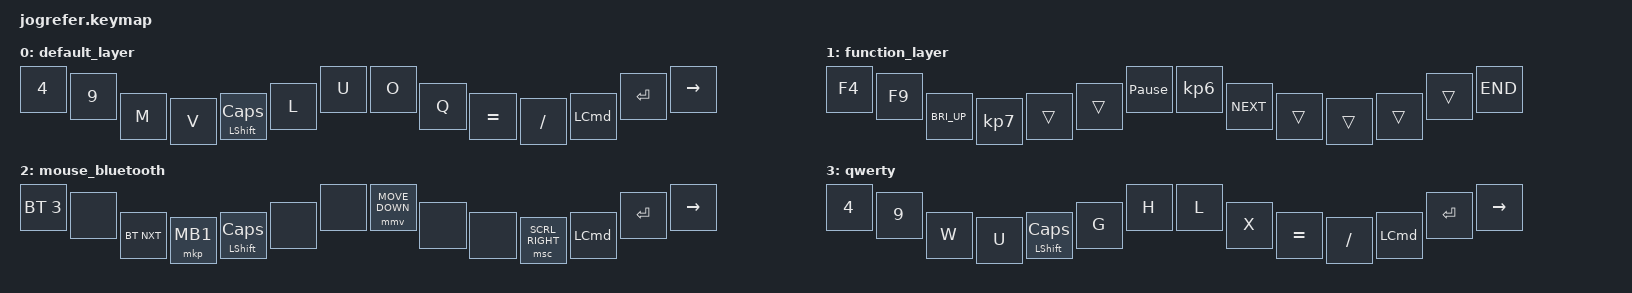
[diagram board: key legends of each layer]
#include <definitions.dtsi>
#include <jogrefer-layouts.dtsi>
#include <dt-bindings/zmk/keys.h>
#include <dt-bindings/zmk/bt.h>
#include <dt-bindings/zmk/outputs.h>
#include <input/processors.dtsi>

#define ZMK_POINTING_DEFAULT_MOVE_VAL 1500  // default: 600
#define ZMK_POINTING_DEFAULT_SCRL_VAL 20 
#include <dt-bindings/zmk/pointing.h>

/ {
	behaviors {
		&mt {
			tapping-term-ms = <160>;
		};
		&lt {
			tapping-term-ms = <160>;
		};
	};

	keymap {
		compatible = "zmk,keymap";
		retro-tap;
		default_layer {
				/* ╭────────────────────╮   ╭────────────────────╮
					│  ×  1  2  3  4  5	│   │  6  7  8  9  0  \  │
					│  ⭾  F  M  N  G  X	╰───╯  W  V  B  P  Y  -  │
					│  ⇪  D  T  R  S  L  Ç   m  U  A  E  O  I  +  │
					│  ´  Z  Q  H  C  K  [   <  Ñ  J  ,  .  /  ⇪  │
					│  m  ⌃  ⌥  ⌘  ␣  ←  ]   ⌘  ↩︎  ␣  ←  ↑  ↓  →  │
					╰─────────────────────────────────────────────╯ */
			bindings = <
				&kp ESC              &kp N1     &kp N2    &kp N3    &kp N4     &kp N5                               &kp N6      &kp N7     &kp N8      &kp N9    &kp N0     &kp NUBS
				&kp TAB              &kp F      &kp M     &kp N     &kp G      &kp X                                &kp W       &kp V      &kp B       &kp P     &kp Y      &kp _MINUS
				&mt LSHIFT CAPSLOCK  &kp D      &kp T     &kp R     &kp S      &kp L          &kp TILDE  &tog 2     &kp U       &kp A      &kp E       &kp O     &kp I      &kp _PLUS
				&kp GRAVE            &kp Z      &kp Q     &kp H     &kp C      &kp K          &kp LBKT   &kp EQUAL  &kp NTILDE  &kp J      &kp _COMMA  &kp _DOT  &kp SLASH  &kp RSHIFT
				&lt 1 GLOBE          &kp LCTRL  &kp LALT  &kp LCMD  &kp SPACE  &kp BACKSPACE  &kp RBKT   &kp RCMD   &kp ENTER   &kp SPACE  &kp LEFT    &kp UP    &kp DOWN   &kp RIGHT
			>;
		};

		function_layer {		// 1
			bindings = <
				&kp F12         &kp F1             &kp F2        &kp F3            &kp F4      &kp F5                   &kp F6           &kp F7        &kp F8     &kp F9     &kp F10          &kp F11
				&kp SCROLLLOCK  &kp C_VOL_UP       &kp C_BRI_UP  &trans            &trans      &trans                   &kp PRINTSCREEN  &kp KP_N7     &kp KP_N8  &kp KP_N9  &trans           &trans
				&trans          &kp C_VOLUME_DOWN  &kp C_BRI_DN  &trans            &trans      &trans   &to 3   &to 2   &kp PAUSE_BREAK  &kp KP_N4     &kp KP_N5  &kp KP_N6  &kp KP_MULTIPLY  &trans
				&trans          &kp C_MUTE         &kp C_NEXT    &kp C_PLAY_PAUSE  &kp C_PREV  &trans   &trans  &trans  &kp KP_NUMLOCK   &kp KP_N1     &kp KP_N2  &kp KP_N3  &trans           &kp INSERT
				&trans          &trans             &trans        &trans            &trans      &kp DEL  &trans  &trans  &trans           &kp KP_EQUAL  &HOME      &PAGE_UP   &PAGE_DOWN       &END
			>;
		};

		mouse_bluetooth {		// 2

			&mkp_input_listener {
				input-processors = <&zip_temp_layer 2 2000>;
 			};
 			&mmv_input_listener {	//Input Processors
 				input-processors = <&zip_temp_layer 2 2000>;
 			};
 			&mmv {	//Mouse Move
				x-input-code = <INPUT_REL_X>;
 				y-input-code = <INPUT_REL_Y>;
 				time-to-max-speed-ms = <800>;
 				acceleration-exponent = <1.12>;
 			};
 			&msc {	//Mouse Scroll
				x-input-code = <INPUT_REL_HWHEEL>;
				y-input-code = <INPUT_REL_WHEEL>;
				time-to-max-speed-ms = <400>;
				acceleration-exponent = <1.1>;
			};
			bindings = <
				&to 0                &bt BT_SEL 0  &bt BT_SEL 1  &bt BT_SEL 2  &bt BT_SEL 3  &bt BT_SEL 4                      &none      &none           &none           &none           &none            &none
				&kp TAB              &bt BT_CLR    &bt BT_NXT    &bt BT_PVR    &bt BT_DISC   &none                             &mkp MB4   &mkp MB1        &mkp MB3        &mkp MB2        &mkp MB5         &none
				&mt LSHIFT CAPSLOCK  &out OUT_USB  &out OUT_BLE  &none         &none         &none         &none     &to 0     &none      &mmv MOVE_LEFT  &mmv MOVE_UP    &mmv MOVE_DOWN  &mmv MOVE_RIGHT  &none
				&none                &none         &none         &none         &none         &none         &none     &none     &none      &msc SCRL_LEFT  &msc SCRL_UP    &msc SCRL_DOWN  &msc SCRL_RIGHT  &RSHIFT
				&trans               &kp LCTRL     &kp LALT      &kp LCMD      &kp SPACE     &kp DEL       &kp RBKT  &kp RCMD  &kp ENTER  &kp SPACE       &kp LEFT        &kp UP          &kp DOWN         &kp RIGHT
			>;
		};

			qwerty {		// 3
				/* ╭────────────────────╮   ╭────────────────────╮
					│  ×  1  2  3  4  5	│   │  6  7  8  9  0  \  │
					│  ⭾  Q  W  E  R  T	╰───╯  Y  U  I  O  P  -  │
					│  ⇪  A  S  D  F  G  Ç   m  H  J  K  L  Ñ  +  │
					│  ´  Z  X  C  V  B  [   <  N  M  ,  .  /  ⇪  │
					│  m  ⌃  ⌥  ⌘  ␣  ←  ]   ⌘  ↩︎  ␣  ←  ↑  ↓  →  │
					╰─────────────────────────────────────────────╯ */
			bindings = <
				&kp ESC              &kp N1     &kp N2    &kp N3    &kp N4     &kp N5                               &kp N6     &kp N7     &kp N8      &kp N9    &kp N0      &kp NUBS
				&kp TAB              &kp Q      &kp W     &kp E     &kp R      &kp T                                &kp Y      &kp U      &kp I       &kp O     &kp P       &kp _MINUS
				&mt LSHIFT CAPSLOCK  &kp A      &kp S     &kp D     &kp F      &kp G          &tog 3     &tog 2     &kp H      &kp J      &kp K       &kp L     &kp NTILDE  &kp _PLUS
				&kp GRAVE            &kp Z      &kp X     &kp C     &kp V      &kp B          &kp LBKT   &kp EQUAL  &kp N      &kp M      &kp _COMMA  &kp _DOT  &kp SLASH   &kp RSHIFT
				&lt 1 GLOBE          &kp LCTRL  &kp LALT  &kp LCMD  &kp SPACE  &kp BACKSPACE  &kp RBKT   &kp RCMD   &kp ENTER  &kp SPACE  &kp LEFT    &kp UP    &kp DOWN    &kp RIGHT
			>;
		};
	};
};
